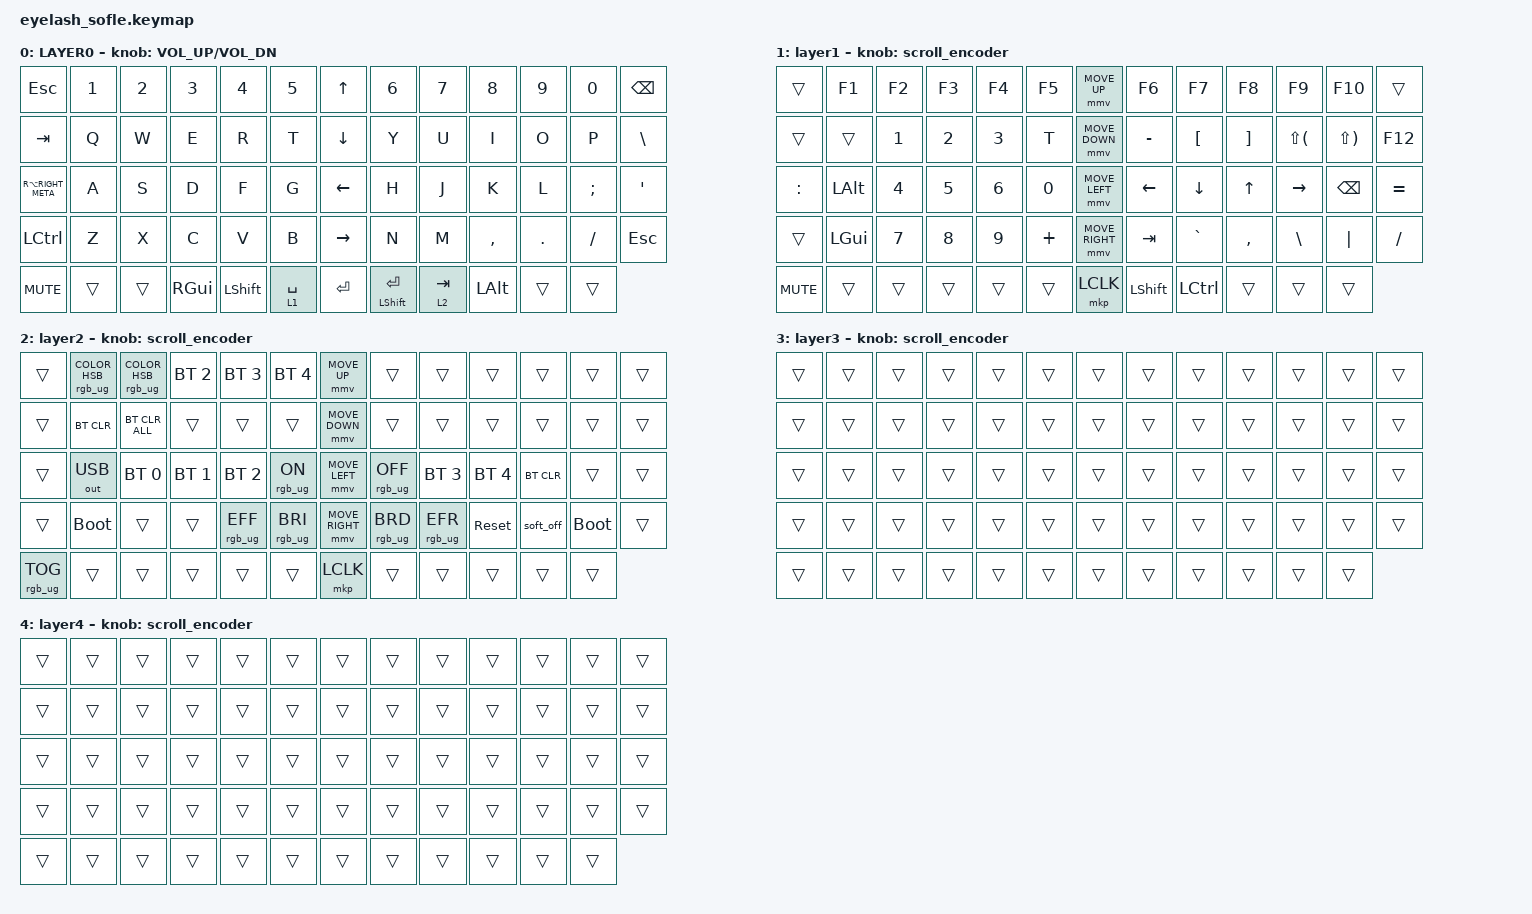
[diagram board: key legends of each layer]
#define ZMK_POINTING_DEFAULT_MOVE_VAL 1200  // 600
#define ZMK_POINTING_DEFAULT_SCRL_VAL 25   // 10

#include <input/processors.dtsi>
#include <zephyr/dt-bindings/input/input-event-codes.h>
#include <behaviors.dtsi>
#include <dt-bindings/zmk/bt.h>
#include <dt-bindings/zmk/keys.h>
#include <dt-bindings/zmk/outputs.h>
#include <dt-bindings/zmk/pointing.h>
#include <dt-bindings/zmk/rgb.h>

&mmv_input_listener { input-processors = <&zip_xy_scaler 2 1>; };

&msc_input_listener { input-processors = <&zip_scroll_scaler 2 1>; };

&msc {
    acceleration-exponent = <1>;      // 0
    time-to-max-speed-ms = <100>;       // 300
    delay-ms = <0>;                   // 0
};

&mmv {
    time-to-max-speed-ms = <500>;
    acceleration-exponent = <1>;
    trigger-period-ms = <16>;
};

&soft_off { hold-time-ms = <2000>; };

/ {
    scroll_encoder: scroll_encoder {
        compatible = "zmk,behavior-sensor-rotate";
        #sensor-binding-cells = <0>;
        bindings = <&msc SCRL_DOWN>, <&msc SCRL_UP>;

        tap-ms = <100>;
    };

    behaviors {
    };

    combos {
        compatible = "zmk,combos";

        cl_sq_br {
            bindings = <&kp RIGHT_BRACKET>;
            key-positions = <21 22>;
        };

        op_sq_br {
            bindings = <&kp LEFT_BRACKET>;
            key-positions = <16 17>;
        };

        cl_r_br {
            bindings = <&kp RIGHT_PARENTHESIS>;
            key-positions = <34 35>;
        };

        op_r_br {
            bindings = <&kp LEFT_PARENTHESIS>;
            key-positions = <29 30>;
        };

        cl_c_br {
            bindings = <&kp RIGHT_BRACE>;
            key-positions = <47 48>;
        };

        op_c_br {
            bindings = <&kp LEFT_BRACE>;
            key-positions = <42 43>;
        };
    };

    macros {
        SHIFT_MCLK: SHIFT_MCLK {
            compatible = "zmk,behavior-macro";
            #binding-cells = <0>;
            bindings =
                <&macro_press>,
                <&kp LEFT_SHIFT>,
                <&macro_press>,
                <&mkp MB3>,
                <&macro_pause_for_release>,
                <&macro_release>,
                <&kp LEFT_SHIFT &mkp MB3>;

            label = "SHIFT_MCLK";
        };
    };

    keymap {
        compatible = "zmk,keymap";

        layer0 {
            bindings = <
&kp ESC             &kp N1  &kp N2  &kp N3    &kp N4          &kp N5         &kp UP_ARROW     &kp N6                &kp N7     &kp N8        &kp N9   &kp N0    &kp BACKSPACE
&kp TAB             &kp Q   &kp W   &kp E     &kp R           &kp T          &kp DOWN_ARROW   &kp Y                 &kp U      &kp I         &kp O    &kp P     &kp BSLH
&kp RA(RIGHT_META)  &kp A   &kp S   &kp D     &kp F           &kp G          &kp LEFT_ARROW   &kp H                 &kp J      &kp K         &kp L    &kp SEMI  &kp APOS
&kp LEFT_CONTROL    &kp Z   &kp X   &kp C     &kp V           &kp B          &kp RIGHT_ARROW  &kp N                 &kp M      &kp COMMA     &kp DOT  &kp FSLH  &kp ESC
&kp C_MUTE          &trans  &trans  &kp RGUI  &kp LEFT_SHIFT  &lt 1 SPACE    &kp ENTER        &mt LEFT_SHIFT ENTER  &lt 2 TAB  &kp LEFT_ALT  &trans   &trans
            >;

            sensor-bindings = <&inc_dec_kp C_VOLUME_UP C_VOL_DN>;
            display-name = "LAYER0";
        };

        layer_1 {
            bindings = <
&trans      &kp F1    &kp F2  &kp F3  &kp F4  &kp F5      &mmv MOVE_UP     &kp F6     &kp F7     &kp F8     &kp F9        &kp F10       &trans
&trans      &trans    &kp N1  &kp N2  &kp N3  &kp T       &mmv MOVE_DOWN   &kp MINUS  &kp LBKT   &kp RBKT   &kp LS(LPAR)  &kp LS(RPAR)  &kp F12
&kp COLON   &kp LALT  &kp N4  &kp N5  &kp N6  &kp N0      &mmv MOVE_LEFT   &kp LEFT   &kp DOWN   &kp UP     &kp RIGHT     &kp BSPC      &kp EQUAL
&trans      &kp LGUI  &kp N7  &kp N8  &kp N9  &kp PLUS    &mmv MOVE_RIGHT  &kp TAB    &kp GRAVE  &kp COMMA  &kp BSLH      &kp PIPE      &kp FSLH
&kp C_MUTE  &trans    &trans  &trans  &trans  &trans      &mkp LCLK        &kp LSHFT  &kp LCTRL  &trans     &trans        &trans
            >;

            display-name = "layer1";
            sensor-bindings = <&scroll_encoder>;
        };

        layer_2 {
            bindings = <
&trans           &rgb_ug RGB_COLOR_HSB(202,0,100)  &rgb_ug RGB_COLOR_HSB(180,70,43)  &bt BT_SEL 2  &bt BT_SEL 3     &bt BT_SEL 4       &mmv MOVE_UP     &trans           &trans           &trans        &trans      &trans       &trans
&trans           &bt BT_CLR                        &bt BT_CLR_ALL                    &trans        &trans           &trans             &mmv MOVE_DOWN   &trans           &trans           &trans        &trans      &trans       &trans
&trans           &out OUT_USB                      &bt BT_SEL 0                      &bt BT_SEL 1  &bt BT_SEL 2     &rgb_ug RGB_ON     &mmv MOVE_LEFT   &rgb_ug RGB_OFF  &bt BT_SEL 3     &bt BT_SEL 4  &bt BT_CLR  &trans       &trans
&trans           &bootloader                       &trans                            &trans        &rgb_ug RGB_EFF  &rgb_ug RGB_BRI    &mmv MOVE_RIGHT  &rgb_ug RGB_BRD  &rgb_ug RGB_EFR  &sys_reset    &soft_off   &bootloader  &trans
&rgb_ug RGB_TOG  &trans                            &trans                            &trans        &trans           &trans             &mkp LCLK        &trans           &trans           &trans        &trans      &trans
            >;

            display-name = "layer2";
            sensor-bindings = <&scroll_encoder>;
        };

        layer_3 {
            bindings = <
&trans  &trans  &trans  &trans  &trans  &trans    &trans  &trans  &trans  &trans  &trans  &trans  &trans
&trans  &trans  &trans  &trans  &trans  &trans    &trans  &trans  &trans  &trans  &trans  &trans  &trans
&trans  &trans  &trans  &trans  &trans  &trans    &trans  &trans  &trans  &trans  &trans  &trans  &trans
&trans  &trans  &trans  &trans  &trans  &trans    &trans  &trans  &trans  &trans  &trans  &trans  &trans
&trans  &trans  &trans  &trans  &trans  &trans    &trans  &trans  &trans  &trans  &trans  &trans
            >;

            display-name = "layer3";
            sensor-bindings = <&scroll_encoder>;
        };

        layer_4 {
            bindings = <
&trans  &trans  &trans  &trans  &trans  &trans    &trans  &trans  &trans  &trans  &trans  &trans  &trans
&trans  &trans  &trans  &trans  &trans  &trans    &trans  &trans  &trans  &trans  &trans  &trans  &trans
&trans  &trans  &trans  &trans  &trans  &trans    &trans  &trans  &trans  &trans  &trans  &trans  &trans
&trans  &trans  &trans  &trans  &trans  &trans    &trans  &trans  &trans  &trans  &trans  &trans  &trans
&trans  &trans  &trans  &trans  &trans  &trans    &trans  &trans  &trans  &trans  &trans  &trans
            >;

            display-name = "layer4";
            sensor-bindings = <&scroll_encoder>;
        };
    };
};
